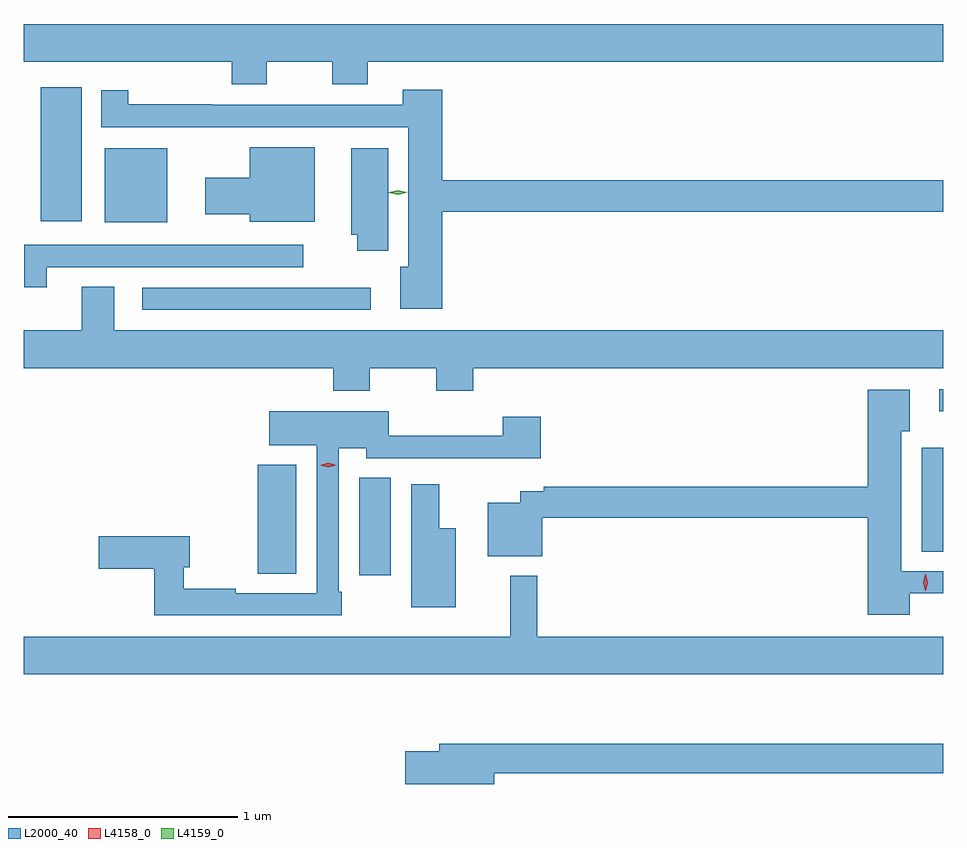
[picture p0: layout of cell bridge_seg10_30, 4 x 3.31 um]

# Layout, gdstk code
import gdstk
lib = gdstk.Library(unit=1e-6, precision=1e-09)
def R(c, l, rs):  # rectangles x0, y0, x1, y1
    for r in rs: c.add(gdstk.rectangle(r[:2], r[2:], *l))
def P(c, l, *ps):  # polygons
    for p in ps: c.add(gdstk.Polygon(p, *l))
L2000_40 = (2000, 40)
L4158_0 = (4158, 0)
L4159_0 = (4159, 0)

bridge_seg10_30 = lib.new_cell('bridge_seg10_30')
R(bridge_seg10_30, L2000_40, [(947.909,1284.762,948.046,1285.187), (947.468,1284.769,947.635,1285.243), (950.354,1284.865,950.449,1285.318), (950.43,1285.476,950.449,1285.572), (946.965,1285.917,947.959,1286.013), (946.802,1286.297,947.074,1286.62), (946.523,1286.303,946.702,1286.884)])
P(bridge_seg10_30, L2000_40, [(947.506,1286.996),(947.792,1286.996),(947.792,1286.897),(947.945,1286.897),(947.945,1286.996),(950.449,1286.996),(950.449,1287.16),(946.449,1287.16),(946.449,1286.996),(947.354,1286.996),(947.354,1286.897),(947.506,1286.897)],
  [(948.269,1286.344),(950.449,1286.344),(950.449,1286.48),(948.269,1286.48),(948.269,1286.875),(948.098,1286.875),(948.098,1286.808),(947.27,1286.808),(947.27,1286.81),(946.905,1286.81),(946.905,1286.872),(946.787,1286.872),(946.787,1286.712),(947.17,1286.712),(947.17,1286.71),(947.336,1286.71),(947.336,1286.712),(948.122,1286.712),(948.122,1286.104),(948.086,1286.104),(948.086,1285.922),(948.269,1285.922)],
  [(947.716,1286.623),(947.432,1286.623),(947.432,1286.491),(947.238,1286.491),(947.238,1286.333),(947.432,1286.333),(947.432,1286.3),(947.716,1286.3)],
  [(948.034,1286.62),(947.873,1286.62),(947.873,1286.244),(947.9,1286.244),(947.9,1286.175),(948.034,1286.175)],
  [(946.549,1286.103),(947.665,1286.103),(947.665,1286.199),(946.452,1286.199),(946.452,1286.016),(946.549,1286.016)],
  [(947.955,1285.664),(948.244,1285.664),(948.244,1285.565),(948.404,1285.565),(948.404,1285.664),(950.449,1285.664),(950.449,1285.828),(946.843,1285.828),(946.843,1286.018),(946.703,1286.018),(946.703,1285.828),(946.449,1285.828),(946.449,1285.664),(947.795,1285.664),(947.795,1285.565),(947.955,1285.565)],
  [(950.302,1284.684),(950.449,1284.684),(950.449,1284.78),(950.266,1284.78),(950.266,1285.388),(950.302,1285.388),(950.302,1285.57),(950.12,1285.57),(950.12,1285.148),(948.712,1285.148),(948.712,1285.129),(948.609,1285.129),(948.609,1285.078),(948.467,1285.078),(948.467,1284.845),(948.705,1284.845),(948.705,1285.012),(950.12,1285.012),(950.12,1284.59),(950.302,1284.59)],
  [(947.833,1284.691),(947.82,1284.691),(947.82,1285.316),(947.94,1285.316),(947.94,1285.272),(948.449,1285.272),(948.449,1285.271),(948.698,1285.271),(948.698,1285.453),(948.533,1285.453),(948.533,1285.37),(948.036,1285.37),(948.036,1285.477),(947.517,1285.477),(947.517,1285.328),(947.724,1285.328),(947.724,1284.684),(947.372,1284.684),(947.372,1284.704),(947.146,1284.704),(947.146,1284.797),(947.172,1284.797),(947.172,1284.932),(946.776,1284.932),(946.776,1284.79),(947.017,1284.79),(947.017,1284.588),(947.833,1284.588)],
  [(948.328,1284.967),(948.256,1284.967),(948.256,1285.159),(948.134,1285.159),(948.134,1284.623),(948.328,1284.623)],
  [(950.449,1284.496),(948.683,1284.496),(948.683,1284.76),(948.565,1284.76),(948.565,1284.496),(946.449,1284.496),(946.449,1284.332),(950.449,1284.332)],
  [(948.496,1283.902),(950.449,1283.902),(950.449,1284.031),(948.257,1284.031),(948.257,1283.997),(948.108,1283.997),(948.108,1283.855),(948.496,1283.855)])
P(bridge_seg10_30, L4158_0, [(950.371,1284.695),(950.371,1284.695),(950.361,1284.731),(950.371,1284.767),(950.371,1284.767),(950.372,1284.767),(950.381,1284.731),(950.372,1284.695)],
  [(947.773,1285.232),(947.738,1285.242),(947.738,1285.242),(947.738,1285.242),(947.773,1285.252),(947.808,1285.242),(947.808,1285.242),(947.808,1285.242)])
P(bridge_seg10_30, L4159_0, [(948.078,1286.418),(948.038,1286.427),(948.038,1286.428),(948.038,1286.428),(948.078,1286.438),(948.118,1286.429),(948.118,1286.429),(948.118,1286.429)])

lib.write_gds('bridge_seg10_30.gds')
